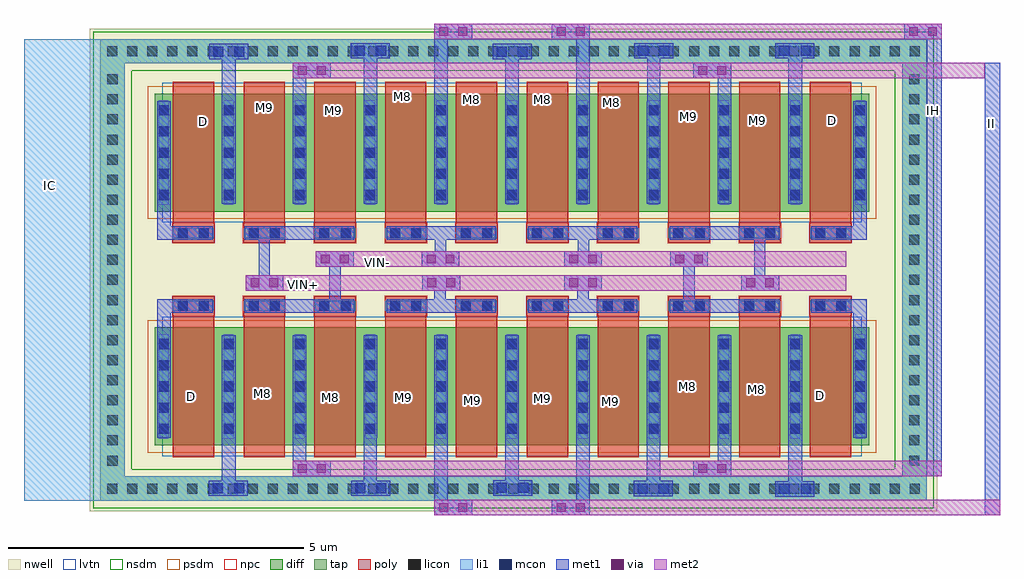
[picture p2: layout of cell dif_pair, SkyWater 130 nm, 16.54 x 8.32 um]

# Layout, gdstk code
from math import pi, radians
import gdstk
lib = gdstk.Library(unit=1e-6, precision=1e-09)
def R(c, l, rs):  # rectangles x0, y0, x1, y1
    for r in rs: c.add(gdstk.rectangle(r[:2], r[2:], *l))
def A(c, l, x, y, w, h, nx, ny, dx, dy):  # array of equal rectangles
    R(c, l, [(x+i*dx, y+j*dy, x+i*dx+w, y+j*dy+h) for i in range(nx) for j in range(ny)])
nwell = (64, 20)
diff = (65, 20)
tap = (65, 44)
poly = (66, 20)
licon = (66, 44)
li1 = (67, 20)
mcon = (67, 44)
met1 = (68, 20)
via = (68, 44)
met2 = (69, 20)
nsdm = (93, 44)
psdm = (94, 20)
npc = (95, 20)
lvtn = (125, 44)

vias_gen_15 = lib.new_cell('vias_gen$15')
R(vias_gen_15, li1, [(0,0,0.66,0.26)])
R(vias_gen_15, mcon, [(0.065,0.045,0.235,0.215), (0.425,0.045,0.595,0.215)])
R(vias_gen_15, met1, [(0,0,0.66,0.26)])

vias_gen_2 = lib.new_cell('vias_gen$2')
R(vias_gen_2, met1, [(0,0,0.64,0.26)])
R(vias_gen_2, via, [(0.085,0.055,0.235,0.205), (0.405,0.055,0.555,0.205)])
R(vias_gen_2, met2, [(0,0,0.64,0.26)])

vias_gen_12 = lib.new_cell('vias_gen$12')
R(vias_gen_12, nwell, [(-0.18,-0.18,0.59,14.18)])
R(vias_gen_12, tap, [(0,0,0.41,14)])
A(vias_gen_12, licon, 0.12, 0.115, 0.17, 0.17, 1, 41, 0, 0.34)
R(vias_gen_12, li1, [(0,0,0.41,14)])
R(vias_gen_12, nsdm, [(-0.125,-0.125,0.535,14.125)])

vias_gen_8 = lib.new_cell('vias_gen$8')
R(vias_gen_8, nwell, [(-0.18,-0.18,0.59,7.18)])
R(vias_gen_8, tap, [(0,0,0.41,7)])
A(vias_gen_8, licon, 0.12, 0.185, 0.17, 0.17, 1, 20, 0, 0.34)
R(vias_gen_8, li1, [(0,0,0.41,7)])
R(vias_gen_8, nsdm, [(-0.125,-0.125,0.535,7.125)])

pfet_2 = lib.new_cell('pfet$2')
R(pfet_2, nwell, [(-0.305,-0.38,12.405,2.72)])
R(pfet_2, diff, [(0,0,12.1,2)])
A(pfet_2, poly, 0.3, -0.2, 0.7, 2.4, 10, 1, 1.2, 0)
A(pfet_2, poly, 0.3, 2.2, 0.7, 0.33, 10, 1, 1.2, 0)
A(pfet_2, licon, 0.065, 0.195, 0.17, 0.17, 1, 5, 0, 0.36)
A(pfet_2, licon, 1.165, 0.195, 0.17, 0.17, 9, 5, 1.2, 0.36)
A(pfet_2, licon, 11.865, 0.195, 0.17, 0.17, 1, 5, 0, 0.36)
R(pfet_2, licon, [(0.385,2.28,0.555,2.45), (0.745,2.28,0.915,2.45), (1.585,2.28,1.755,2.45), (1.945,2.28,2.115,2.45), (2.785,2.28,2.955,2.45), (3.145,2.28,3.315,2.45), (3.985,2.28,4.155,2.45), (4.345,2.28,4.515,2.45), (5.185,2.28,5.355,2.45), (5.545,2.28,5.715,2.45), (6.385,2.28,6.555,2.45), (6.745,2.28,6.915,2.45), (7.585,2.28,7.755,2.45), (7.945,2.28,8.115,2.45), (8.785,2.28,8.955,2.45), (9.145,2.28,9.315,2.45), (9.985,2.28,10.155,2.45), (10.345,2.28,10.515,2.45), (11.185,2.28,11.355,2.45), (11.545,2.28,11.715,2.45)])
A(pfet_2, li1, 1.165, 0.115, 0.17, 1.77, 9, 1, 1.2, 0)
A(pfet_2, li1, 0.305, 2.28, 0.69, 0.17, 10, 1, 1.2, 0)
R(pfet_2, li1, [(0.065,0.115,0.235,1.885), (11.865,0.115,12.035,1.885)])
A(pfet_2, mcon, 0.065, 0.195, 0.17, 0.17, 1, 5, 0, 0.36)
A(pfet_2, mcon, 1.165, 0.195, 0.17, 0.17, 9, 5, 1.2, 0.36)
A(pfet_2, mcon, 11.865, 0.195, 0.17, 0.17, 1, 5, 0, 0.36)
R(pfet_2, mcon, [(0.385,2.28,0.555,2.45), (0.745,2.28,0.915,2.45), (1.585,2.28,1.755,2.45), (1.945,2.28,2.115,2.45), (2.785,2.28,2.955,2.45), (3.145,2.28,3.315,2.45), (3.985,2.28,4.155,2.45), (4.345,2.28,4.515,2.45), (5.185,2.28,5.355,2.45), (5.545,2.28,5.715,2.45), (6.385,2.28,6.555,2.45), (6.745,2.28,6.915,2.45), (7.585,2.28,7.755,2.45), (7.945,2.28,8.115,2.45), (8.785,2.28,8.955,2.45), (9.145,2.28,9.315,2.45), (9.985,2.28,10.155,2.45), (10.345,2.28,10.515,2.45), (11.185,2.28,11.355,2.45), (11.545,2.28,11.715,2.45)])
A(pfet_2, met1, 1.135, 0.135, 0.23, 1.73, 9, 1, 1.2, 0)
A(pfet_2, met1, 0.325, 2.25, 0.65, 0.23, 10, 1, 1.2, 0)
R(pfet_2, met1, [(0.035,0.135,0.265,1.865), (11.835,0.135,12.065,1.865)])
R(pfet_2, psdm, [(-0.125,-0.125,12.225,2.125)])
A(pfet_2, npc, 0.29, 2.19, 0.72, 0.35, 10, 1, 1.2, 0)
R(pfet_2, lvtn, [(0.12,-0.18,11.98,2.18)])

dif_pair = lib.new_cell('dif_pair')
R(dif_pair, nwell, [(-25.365,25.14,-11.005,33.32)])
R(dif_pair, li1, [(-26.48,25.32,-25.185,33.14)])
A(dif_pair, met1, -18.325, 25.455, 0.23, 0.935, 3, 1, 2.4, 0)
A(dif_pair, met1, -23.125, 32.085, 0.23, 0.935, 3, 1, 2.4, 0)
R(dif_pair, met1, [(-19.525,25.075,-19.295,26.39), (-10.2,25.075,-9.94,32.74), (-17.125,25.335,-16.895,26.39), (-23.125,25.455,-22.895,26.39), (-20.72,25.455,-20.5,26.39), (-21.925,25.735,-21.695,26.39), (-11.185,25.735,-10.925,33.4), (-14.725,25.87,-14.495,26.39), (-24.225,28.12,-23.995,28.665), (-12.425,28.12,-12.195,28.735), (-24.225,28.505,-23.935,28.735), (-22.085,28.505,-21.53,28.735), (-19.685,28.505,-19.13,28.735), (-19.525,28.505,-19.335,29.14), (-17.285,28.505,-16.735,28.735), (-17.1,28.505,-16.91,29.14), (-14.885,28.505,-14.335,28.735), (-12.485,28.505,-12.195,28.735), (-15.305,28.535,-15.115,29.54), (-21.305,28.705,-21.115,29.455), (-14.105,28.935,-13.915,29.94), (-22.505,28.965,-22.315,29.97), (-19.515,29.335,-19.325,29.97), (-17.095,29.335,-16.905,29.97), (-24.225,29.74,-23.935,29.97), (-22.085,29.74,-21.535,29.97), (-17.285,29.74,-16.73,29.97), (-14.885,29.74,-14.335,29.97), (-12.485,29.74,-12.195,29.97), (-19.685,29.745,-19.135,29.97), (-24.225,29.805,-23.995,30.355), (-12.425,29.85,-12.195,30.355), (-21.925,32.085,-21.695,32.605), (-19.525,32.085,-19.295,33.14), (-17.125,32.085,-16.895,33.4), (-15.92,32.085,-15.7,33.02), (-14.725,32.085,-14.495,32.74), (-13.525,32.085,-13.295,33.02)])
R(dif_pair, met2, [(-19.525,25.075,-9.94,25.335), (-21.925,25.735,-10.925,25.995), (-22.725,28.88,-12.545,29.14), (-21.535,29.285,-12.545,29.545), (-21.285,32.48,-10.2,32.74), (-18.885,33.14,-11.185,33.4)])
dif_pair.add(gdstk.Reference(vias_gen_15, (-23.345,25.4)))
dif_pair.add(gdstk.Reference(vias_gen_15, (-20.935,25.4)))
dif_pair.add(gdstk.Reference(vias_gen_15, (-18.53,25.405)))
dif_pair.add(gdstk.Reference(vias_gen_15, (-16.145,25.395)))
dif_pair.add(gdstk.Reference(vias_gen_15, (-13.745,25.39)))
dif_pair.add(gdstk.Reference(vias_gen_15, (-13.745,32.815)))
dif_pair.add(gdstk.Reference(vias_gen_15, (-16.14,32.815)))
dif_pair.add(gdstk.Reference(vias_gen_15, (-18.535,32.8)))
dif_pair.add(gdstk.Reference(vias_gen_15, (-20.94,32.815)))
dif_pair.add(gdstk.Reference(vias_gen_15, (-23.34,32.8)))
dif_pair.add(gdstk.Reference(vias_gen_2, (-11.565,33.14)))
dif_pair.add(gdstk.Reference(vias_gen_2, (-14.495,25.995), rotation=pi))
dif_pair.add(gdstk.Reference(vias_gen_2, (-21.285,25.995), rotation=pi))
dif_pair.add(gdstk.Reference(vias_gen_2, (-16.895,25.335), rotation=pi))
dif_pair.add(gdstk.Reference(vias_gen_2, (-18.885,25.335), rotation=pi))
dif_pair.add(gdstk.Reference(vias_gen_2, (-17.535,33.14)))
dif_pair.add(gdstk.Reference(vias_gen_2, (-19.525,33.14)))
dif_pair.add(gdstk.Reference(vias_gen_2, (-15.135,32.48)))
dif_pair.add(gdstk.Reference(vias_gen_2, (-21.925,32.48)))
dif_pair.add(gdstk.Reference(vias_gen_12, (-25.185,25.73), rotation=3*pi/2))
dif_pair.add(gdstk.Reference(vias_gen_12, (-25.185,33.14), rotation=3*pi/2))
dif_pair.add(gdstk.Reference(vias_gen_8, (-11.595,25.73)))
dif_pair.add(gdstk.Reference(vias_gen_8, (-25.185,25.73)))
dif_pair.add(gdstk.Reference(pfet_2, (-12.16,32.22), rotation=pi))
dif_pair.add(gdstk.Reference(vias_gen_2, (-17.325,28.88)))
dif_pair.add(gdstk.Reference(vias_gen_2, (-17.325,29.285)))
dif_pair.add(gdstk.Reference(vias_gen_2, (-19.74,29.285)))
dif_pair.add(gdstk.Reference(vias_gen_2, (-19.73,28.88)))
dif_pair.add(gdstk.Reference(vias_gen_2, (-15.53,29.285)))
dif_pair.add(gdstk.Reference(vias_gen_2, (-14.325,28.88)))
dif_pair.add(gdstk.Reference(vias_gen_2, (-21.535,29.285)))
dif_pair.add(gdstk.Reference(vias_gen_2, (-22.725,28.88)))
dif_pair.add(gdstk.Reference(pfet_2, (-24.26,26.255)))
dif_pair.add(gdstk.Label('IC', (-26.05,30.665), layer=67, texttype=16))
dif_pair.add(gdstk.Label('VIN-', (-20.49,29.35), layer=69, texttype=16))
dif_pair.add(gdstk.Label('VIN+', (-21.745,28.985), layer=69, texttype=16))
dif_pair.add(gdstk.Label('D', (-12.975,27.095), layer=68, texttype=5))
dif_pair.add(gdstk.Label('M8', (-14.075,27.205), layer=68, texttype=5))
dif_pair.add(gdstk.Label('M8', (-15.24,27.26), layer=68, texttype=5))
dif_pair.add(gdstk.Label('M9', (-16.535,27), layer=68, texttype=5))
dif_pair.add(gdstk.Label('M9', (-17.7,27.055), layer=68, texttype=5))
dif_pair.add(gdstk.Label('M9', (-18.885,27.02), layer=68, texttype=5))
dif_pair.add(gdstk.Label('M9', (-20.05,27.075), layer=68, texttype=5))
dif_pair.add(gdstk.Label('M8', (-21.28,27.075), layer=68, texttype=5))
dif_pair.add(gdstk.Label('M8', (-22.445,27.13), layer=68, texttype=5))
dif_pair.add(gdstk.Label('D', (-23.645,27.08), layer=68, texttype=5))
dif_pair.add(gdstk.Label('D', (-23.445,31.745), layer=68, texttype=5))
dif_pair.add(gdstk.Label('M8', (-20.065,32.165), layer=68, texttype=5))
dif_pair.add(gdstk.Label('M8', (-18.9,32.11), layer=68, texttype=5))
dif_pair.add(gdstk.Label('M9', (-22.405,31.98), layer=68, texttype=5))
dif_pair.add(gdstk.Label('M9', (-21.24,31.925), layer=68, texttype=5))
dif_pair.add(gdstk.Label('M9', (-15.215,31.825), layer=68, texttype=5))
dif_pair.add(gdstk.Label('M9', (-14.05,31.77), layer=68, texttype=5))
dif_pair.add(gdstk.Label('M8', (-17.685,32.12), layer=68, texttype=5))
dif_pair.add(gdstk.Label('M8', (-16.52,32.065), layer=68, texttype=5))
dif_pair.add(gdstk.Label('D', (-12.775,31.76), layer=68, texttype=5))
dif_pair.add(gdstk.Label('II', (-10.09,31.71), layer=68, texttype=16))
dif_pair.add(gdstk.Label('IH', (-11.06,31.93), layer=68, texttype=16))

lib.write_gds('dif_pair.gds')
